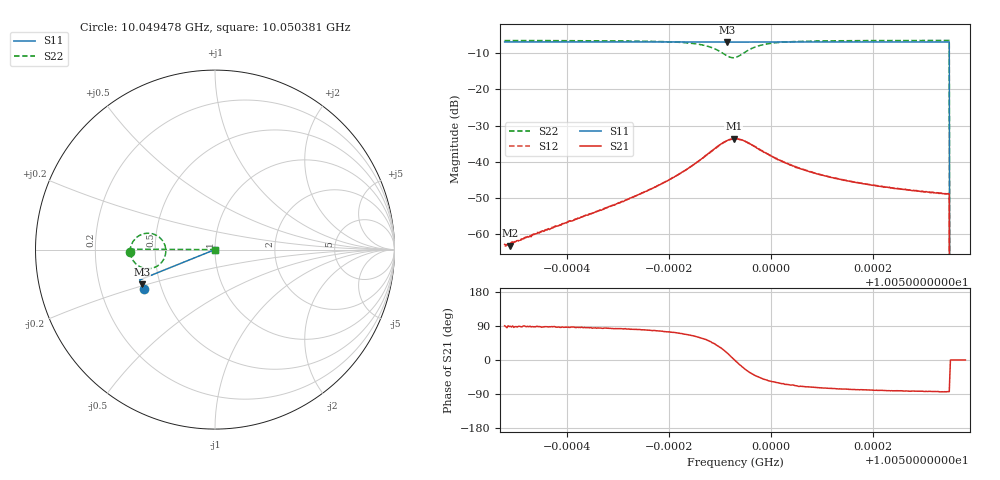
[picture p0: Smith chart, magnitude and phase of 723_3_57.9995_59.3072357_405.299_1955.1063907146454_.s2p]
#  HZ  S  RI  R  50.00
! Rohde & Schwarz Vector Network Analyzer
! Rohde-Schwarz,ZNB20-2Port,1311601062101988,3.16
! Created: UTC 3/21/2024, 1:22:46 AM
! freq[Hz]  re:S11  im:S11  re:S21  im:S21  re:S12  im:S12  re:S22  im:S22
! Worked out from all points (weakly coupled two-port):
!   401 points, 10.049478 GHz to 10.050381 GHz, reference 50 ohm
!   highest |S21| = -33.62 dB at 10.049927 GHz (marker M1); lowest = -63.1 dB at 10.049489 GHz (marker M2)
!   lowest |S11| = -6.9 dB at 10.049914 GHz (marker M3), VSWR 2.64, Z = 19.7 - j9.6 ohm
!   |S11| at or under -10 dB: 10.050349 GHz to end of sweep
!   |S22| runs from - to -6.5 dB; largest |S21 - S12| = 0.0017
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1.00494778e10  -0.3965 -0.2208  -3.12e-06 0.000724  1.27e-06 0.000698  -0.474 -0.0124
1.00494891e10  -0.3968 -0.2201  1.1e-05 0.000698  -1.73e-05 0.00075  -0.4737 -0.0112
1.00495478e10  -0.3987 -0.2167  4.1e-05 0.00108  -3.66e-05 0.00107  -0.4731 -0.00427
1.00496291e10  -0.4011 -0.2116  9.56e-05 0.00173  -1.62e-05 0.00174  -0.4713 0.00727
1.00497149e10  -0.4036 -0.2064  0.000374 0.00294  0.000233 0.00296  -0.4667 0.0239
1.00497803e10  -0.4052 -0.2022  0.0011 0.00468  0.000836 0.0047  -0.4572 0.0437
1.00498323e10  -0.4068 -0.1989  0.00288 0.0071  0.00247 0.00726  -0.4365 0.068
1.00498661e10  -0.4073 -0.1967  0.00626 0.00943  0.00562 0.00973  -0.4011 0.0871
1.00498932e10  -0.4073 -0.1949  0.0125 0.0101  0.0114 0.0108  -0.3432 0.0866
1.00499136e10  -0.4071 -0.1937  0.0185 0.00639  0.0179 0.00749  -0.2887 0.0444
1.00499271e10  -0.4072 -0.1938  0.0208 0.000717  0.0206 0.00232  -0.2741 -0.011
1.00499294e10  -0.4072 -0.1936  0.0208 -0.000419  0.0207 0.0012  -0.275 -0.021
1.00499429e10  -0.4076 -0.1934  0.0192 -0.00601  0.0195 -0.00451  -0.2983 -0.0721
1.00499542e10  -0.4083 -0.1931  0.016 -0.00891  0.0168 -0.00782  -0.3307 -0.0967
1.00499858e10  -0.4098 -0.1914  0.00856 -0.0105  0.00949 -0.0098  -0.4047 -0.101
1.0050031e10  -0.4116 -0.1888  0.00411 -0.00858  0.00462 -0.00838  -0.4473 -0.0727
1.00500806e10  -0.413 -0.1855  0.00222 -0.00678  0.00272 -0.00675  -0.4629 -0.0495
1.00501438e10  -0.4147 -0.1817  0.00128 -0.00542  0.00163 -0.00537  -0.47 -0.0306
1.00502319e10  -0.4169 -0.1762  0.0007 -0.0044  0.000969 -0.00433  -0.4735 -0.0134
1.00503448e10  -0.4196 -0.1692  0.000406 -0.0036  0.00058 -0.00359  -0.4749 0.00168
1.00503561e10  0 0  0 0  0 0  0 0
1.00503809e10  0 0  0 0  0 0  0 0
